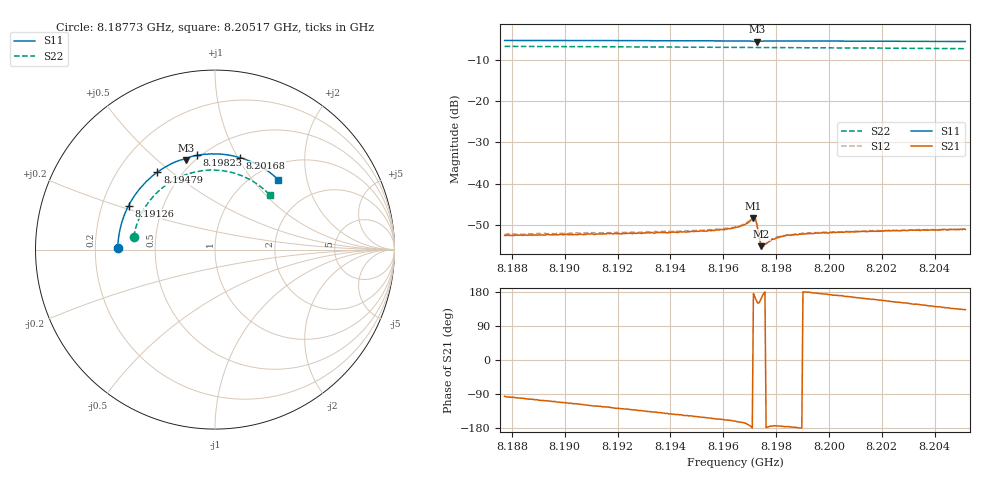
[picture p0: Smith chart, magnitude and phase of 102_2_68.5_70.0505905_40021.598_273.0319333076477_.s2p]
#  HZ  S  RI  R  50.00
! Rohde & Schwarz Vector Network Analyzer
! Rohde-Schwarz,ZNB20-2Port,1311601062101988,3.16
! Created: UTC 3/20/2024, 5:08:15 PM
! freq[Hz]  re:S11  im:S11  re:S21  im:S21  re:S12  im:S12  re:S22  im:S22
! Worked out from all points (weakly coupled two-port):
!   401 points, 8.18773 GHz to 8.20517 GHz, reference 50 ohm
!   highest |S21| = -48.47 dB at 8.19714 GHz (marker M1); lowest = -55.2 dB at 8.19745 GHz (marker M2)
!   lowest |S11| = -5.6 dB at 8.19728 GHz (marker M3), VSWR 3.20, Z = 22.7 + j31.1 ohm
!   |S11| at or under -10 dB: nowhere
!   |S22| runs from -7.3 to -6.8 dB; largest |S21 - S12| = 0.00018
!   S11 on the Smith chart (normalised r, x): 8.18773 GHz: 0.30, +0.01; 8.19126 GHz: 0.31, +0.22; 8.19479 GHz: 0.37, +0.45; 8.19823 GHz: 0.48, +0.71; 8.20168 GHz: 0.72, +1.02; 8.20517 GHz: 1.27, +1.37
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8.187726e9  -0.5418 0.00793  -0.000239 -0.00234  -0.000306 -0.00242  -0.4532 0.0718
8.189121e9  -0.531 0.1049  -0.000694 -0.00227  -0.000739 -0.00236  -0.4332 0.1467
8.190647e9  -0.4993 0.2069  -0.00112 -0.00215  -0.00122 -0.0022  -0.3972 0.2233
8.191258e9  -0.481 0.2457  -0.00128 -0.00208  -0.00141 -0.0021  -0.3788 0.2519
8.193569e9  -0.3856 0.3763  -0.00192 -0.00168  -0.00203 -0.00167  -0.2911 0.3456
8.19479e9  -0.3204 0.4322  -0.00221 -0.00142  -0.00234 -0.00136  -0.2347 0.3842
8.195967e9  -0.2492 0.4755  -0.00255 -0.00109  -0.00263 -0.000999  -0.1751 0.4128
8.196447e9  -0.2178 0.49  -0.00277 -0.000951  -0.00286 -0.000829  -0.1496 0.4217
8.196795e9  -0.1935 0.4989  -0.00306 -0.000778  -0.00316 -0.000639  -0.1307 0.4275
8.197144e9  -0.166 0.5014  -0.00376 0.000318  -0.00378 0.000472  -0.1117 0.4321
8.197231e9  -0.1625 0.4981  -0.00338 0.0012  -0.00342 0.00134  -0.107 0.4331
8.197275e9  -0.1627 0.4975  -0.00286 0.00139  -0.00285 0.00155  -0.1047 0.4335
8.197406e9  -0.1609 0.5044  -0.00177 0.000735  -0.00173 0.000888  -0.0974 0.435
8.197449e9  -0.1584 0.5068  -0.00167 0.000474  -0.0017 0.000547  -0.0952 0.4356
8.197537e9  -0.1523 0.5108  -0.00174 0.000125  -0.00181 0.00021  -0.0903 0.4367
8.197842e9  -0.1298 0.5187  -0.0021 -0.000205  -0.00211 -0.000126  -0.0732 0.4393
8.198234e9  -0.1016 0.5251  -0.00227 -0.000206  -0.00229 -0.00012  -0.0512 0.4417
8.198452e9  -0.0863 0.5277  -0.00237 -0.000175  -0.00238 -7.33e-05  -0.0388 0.4426
8.199368e9  -0.0213 0.5334  -0.00247 0.000108  -0.00252 0.000228  0.0133 0.4422
8.201679e9  0.1403 0.5121  -0.00248 0.000885  -0.00246 0.00103  0.1416 0.4146
8.20229e9  0.1812 0.4982  -0.00241 0.00112  -0.00242 0.00127  0.1741 0.4008
8.205167e9  0.3526 0.3902  -0.00189 0.00203  -0.00182 0.00213  0.307 0.302
